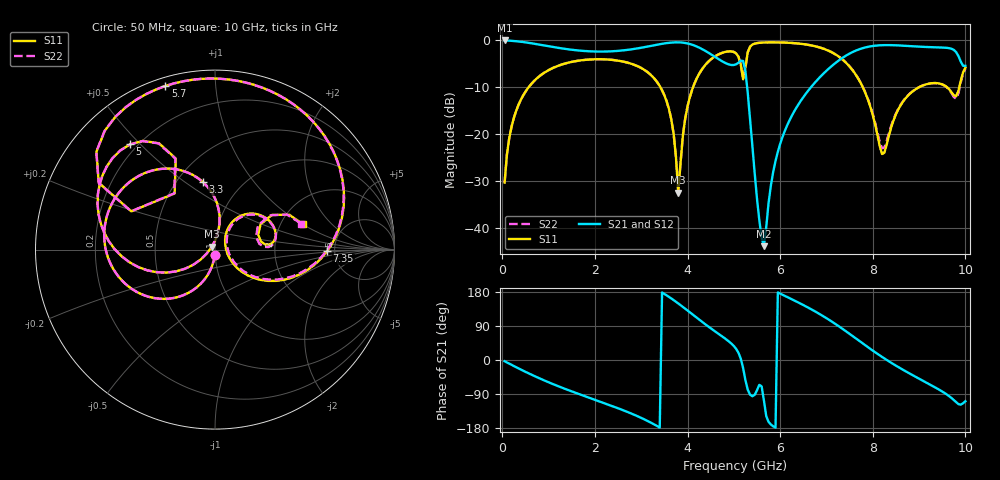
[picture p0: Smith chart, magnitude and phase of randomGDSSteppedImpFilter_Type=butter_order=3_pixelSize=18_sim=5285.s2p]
! freq	dB(S11)	phase(S11)	dB(S12)	phase(S12)
!  dB(S21)	phase(S21)	dB(S22)	phase(S22)
!S-par simulation data
#  GHz  S  DB  R 50
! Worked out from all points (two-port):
!   200 points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, 50 MHz to 10 GHz, reference 50 ohm
!   highest |S21| = -0.01 dB at 50 MHz (marker M1); lowest = -43.8 dB at 5.65 GHz (marker M2)
!   |S21| within 3 dB of the highest: start of sweep to 4.513 GHz; 7.462 GHz to 9.831 GHz (2.369 GHz wide, 27.4 % of centre)
!   lowest |S11| = -32.4 dB at 3.8 GHz (marker M3), VSWR 1.05, Z = 48.3 + j1.58 ohm
!   |S11| at or under -10 dB: start of sweep to 567.6 MHz; 3.416 GHz to 4.119 GHz (703.1 MHz wide, 18.7 % of centre); 7.785 GHz to 8.994 GHz (1.209 GHz wide, 14.4 % of centre) (the widest 3 of 4)
!   |S22| runs from -32.2 to -0.4 dB; largest |S21 - S12| = 0
!   S11 on the Smith chart (normalised r, x): 50 MHz: 0.99, -0.06; 3.3 GHz: 0.66, +0.59; 5 GHz: 0.17, +0.47; 5.7 GHz: 0.04, +0.74; 7.35 GHz: 4.32, -0.14; 10 GHz: 2.66, +1.01
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0.05  -30.29 -93.3  -0.01 -3.2  -0.01 -3.2  -30.29 -93.3
0.5  -10.94 -121.7  -0.41 -31.2  -0.41 -31.2  -10.94 -121.7
1.75  -4.18 175.5  -2.23 -94.0  -2.23 -94.0  -4.18 175.6
3.3  -8.32 100.2  -0.99 -171.3  -0.99 -171.3  -8.32 100.4
3.4  -9.72 93.9  -0.81 -178.2  -0.81 -178.2  -9.72 94.1
3.65  -16.85 79.8  -0.46 162.3  -0.46 162.3  -16.84 80.2
3.8  -32.42 136.9  -0.40 149.2  -0.40 149.2  -32.21 137.3
3.95  -16.62 -145.0  -0.55 135.3  -0.55 135.3  -16.62 -145.2
4.15  -9.18 -158.7  -1.09 116.1  -1.09 116.1  -9.17 -158.7
5  -2.46 128.9  -5.24 36.8  -5.24 36.8  -2.46 129.0
5.05  -2.77 123.6  -5.09 29.3  -5.09 29.3  -2.77 123.8
5.25  -5.81 155.5  -6.55 -53.2  -6.55 -53.2  -5.78 155.5
5.65  -0.44 110.3  -43.84 -107.3  -43.84 -107.3  -0.44 110.5
5.7  -0.42 106.9  -39.71 -148.2  -39.71 -148.2  -0.42 107.1
6  -0.42 88.4  -22.06 175.2  -22.06 175.2  -0.42 88.7
6.7  -1.12 46.0  -9.56 131.9  -9.56 131.9  -1.11 46.4
7.35  -4.09 -0.9  -3.69 82.0  -3.69 82.0  -4.08 -0.1
8.2  -24.20 1.3  -1.01 8.1  -1.01 8.1  -23.00 2.3
8.35  -20.23 52.8  -1.00 -3.7  -1.00 -3.7  -19.76 48.7
9.35  -9.08 18.3  -1.47 -72.5  -1.47 -72.5  -9.09 16.6
9.8  -11.89 19.0  -2.49 -111.5  -2.49 -111.5  -12.41 17.2
10  -5.82 15.9  -5.43 -109.0  -5.43 -109.0  -5.97 16.6
